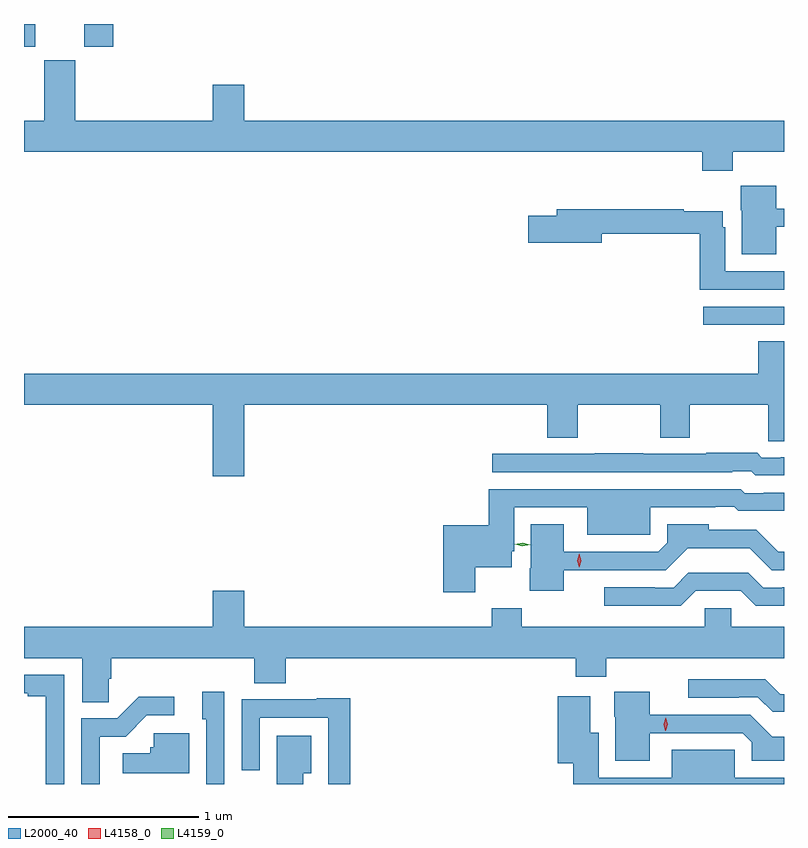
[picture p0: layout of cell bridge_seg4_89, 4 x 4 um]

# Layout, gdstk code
import gdstk
lib = gdstk.Library(unit=1e-6, precision=1e-09)
def R(c, l, rs):  # rectangles x0, y0, x1, y1
    for r in rs: c.add(gdstk.rectangle(r[:2], r[2:], *l))
def P(c, l, *ps):  # polygons
    for p in ps: c.add(gdstk.Polygon(p, *l))
L2000_40 = (2000, 40)
L4158_0 = (4158, 0)
L4159_0 = (4159, 0)

bridge_seg4_89 = lib.new_cell('bridge_seg4_89')
R(bridge_seg4_89, L2000_40, [(443.313,762.609,443.738,762.705), (439.738,764.073,439.798,764.193), (440.054,764.073,440.207,764.193)])
P(bridge_seg4_89, L2000_40, [(443.469,763.52),(443.738,763.52),(443.738,763.684),(440.896,763.684),(440.896,763.873),(440.732,763.873),(440.732,763.684),(440.008,763.684),(440.008,764.001),(439.844,764.001),(439.844,763.684),(439.738,763.684),(439.738,763.52),(443.309,763.52),(443.309,763.421),(443.469,763.421)],
  [(443.698,763.125),(443.738,763.125),(443.738,763.221),(443.698,763.221),(443.698,763.342),(443.51,763.342),(443.51,763.212),(443.516,763.212),(443.516,762.98),(443.698,762.98)],
  [(443.738,762.891),(443.428,762.891),(443.428,763.122),(443.416,763.122),(443.416,763.208),(443.21,763.208),(443.21,763.219),(442.541,763.219),(442.541,763.185),(442.392,763.185),(442.392,763.043),(442.78,763.043),(442.78,763.09),(443.294,763.09),(443.294,762.795),(443.738,762.795)],
  [(440.896,762.188),(442.493,762.188),(442.493,762.016),(442.653,762.016),(442.653,762.188),(443.086,762.188),(443.086,762.016),(443.241,762.016),(443.241,762.188),(443.656,762.188),(443.656,761.998),(443.738,761.998),(443.738,762.524),(443.603,762.524),(443.603,762.352),(439.738,762.352),(439.738,762.188),(440.732,762.188),(440.732,761.814),(440.896,761.814)],
  [(443.738,761.913),(443.722,761.913),(443.722,761.91),(443.622,761.91),(443.596,761.936),(443.329,761.936),(443.329,761.931),(442.997,761.931),(442.997,761.934),(442.741,761.934),(442.741,761.931),(442.203,761.931),(442.203,761.835),(443.465,761.835),(443.465,761.838),(443.565,761.838),(443.586,761.817),(443.738,761.817)],
  [(442.114,761.333),(442.306,761.333),(442.306,761.418),(442.318,761.418),(442.318,761.649),(442.703,761.649),(442.703,761.504),(443.034,761.504),(443.034,761.649),(443.375,761.649),(443.375,761.651),(443.476,761.651),(443.496,761.631),(443.738,761.631),(443.738,761.727),(443.632,761.727),(443.632,761.724),(443.532,761.724),(443.511,761.745),(442.184,761.745),(442.184,761.554),(441.944,761.554),(441.944,761.202),(442.114,761.202)],
  [(442.579,761.319),(443.116,761.319),(443.232,761.435),(443.557,761.435),(443.673,761.319),(443.738,761.319),(443.738,761.415),(443.709,761.415),(443.592,761.532),(443.343,761.532),(443.343,761.56),(443.124,761.56),(443.124,761.463),(443.076,761.415),(442.579,761.415),(442.579,761.56),(442.406,761.56),(442.406,761.328),(442.4,761.328),(442.4,761.21),(442.579,761.21)],
  [(443.274,761.211),(443.511,761.211),(443.59,761.132),(443.738,761.132),(443.738,761.229),(443.728,761.229),(443.728,761.226),(443.628,761.226),(443.55,761.304),(443.235,761.304),(443.157,761.226),(443.057,761.226),(443.057,761.229),(442.791,761.229),(442.791,761.132),(443.195,761.132)],
  [(440.896,761.209),(440.732,761.209),(440.732,761.02),(439.738,761.02),(439.738,760.856),(440.045,760.856),(440.045,760.624),(440.184,760.624),(440.184,760.747),(440.198,760.747),(440.198,760.856),(440.951,760.856),(440.951,760.723),(441.116,760.723),(441.116,760.856),(442.643,760.856),(442.643,760.757),(442.803,760.757),(442.803,760.856),(443.738,760.856),(443.738,761.02),(443.46,761.02),(443.46,761.118),(443.322,761.118),(443.322,761.02),(442.359,761.02),(442.359,761.119),(442.199,761.119),(442.199,761.02),(440.896,761.02)],
  [(439.95,760.767),(439.738,760.767),(439.738,760.671),(439.757,760.671),(439.757,760.656),(439.853,760.656),(439.853,760.193),(439.95,760.193)],
  [(443.738,760.665),(443.718,760.665),(443.639,760.744),(443.235,760.744),(443.235,760.647),(443.501,760.647),(443.501,760.65),(443.601,760.65),(443.679,760.572),(443.738,760.572)],
  [(443.032,760.461),(443.52,760.461),(443.568,760.413),(443.568,760.316),(443.738,760.316),(443.738,760.441),(443.676,760.441),(443.56,760.557),(443.032,760.557),(443.032,760.678),(442.844,760.678),(442.844,760.548),(442.85,760.548),(442.85,760.316),(443.032,760.316)],
  [(440.793,760.678),(440.675,760.678),(440.675,760.533),(440.697,760.533),(440.697,760.193),(440.793,760.193)],
  [(443.738,760.227),(443.478,760.227),(443.478,760.372),(443.147,760.372),(443.147,760.227),(442.762,760.227),(442.762,760.462),(442.717,760.462),(442.717,760.654),(442.547,760.654),(442.547,760.301),(442.628,760.301),(442.628,760.193),(443.738,760.193)],
  [(440.136,760.443),(440.274,760.443),(440.385,760.554),(440.53,760.554),(440.53,760.652),(440.342,760.652),(440.229,760.539),(440.04,760.539),(440.04,760.193),(440.136,760.193)],
  [(441.455,760.645),(441.279,760.645),(441.279,760.638),(440.883,760.638),(440.883,760.266),(440.979,760.266),(440.979,760.542),(441.339,760.542),(441.339,760.193),(441.455,760.193)],
  [(440.608,760.461),(440.421,760.461),(440.421,760.386),(440.402,760.386),(440.402,760.354),(440.259,760.354),(440.259,760.25),(440.608,760.25)],
  [(441.208,760.25),(441.25,760.25),(441.25,760.447),(441.068,760.447),(441.068,760.193),(441.208,760.193)])
P(bridge_seg4_89, L4158_0, [(443.114,760.472),(443.114,760.472),(443.105,760.507),(443.115,760.543),(443.115,760.543),(443.116,760.543),(443.125,760.507),(443.115,760.472)],
  [(442.66,761.333),(442.66,761.334),(442.65,761.369),(442.66,761.404),(442.66,761.404),(442.66,761.404),(442.67,761.369),(442.66,761.334)])
P(bridge_seg4_89, L4159_0, [(442.361,761.444),(442.321,761.455),(442.321,761.455),(442.321,761.455),(442.362,761.464),(442.402,761.452),(442.402,761.452),(442.402,761.452)])

lib.write_gds('bridge_seg4_89.gds')
